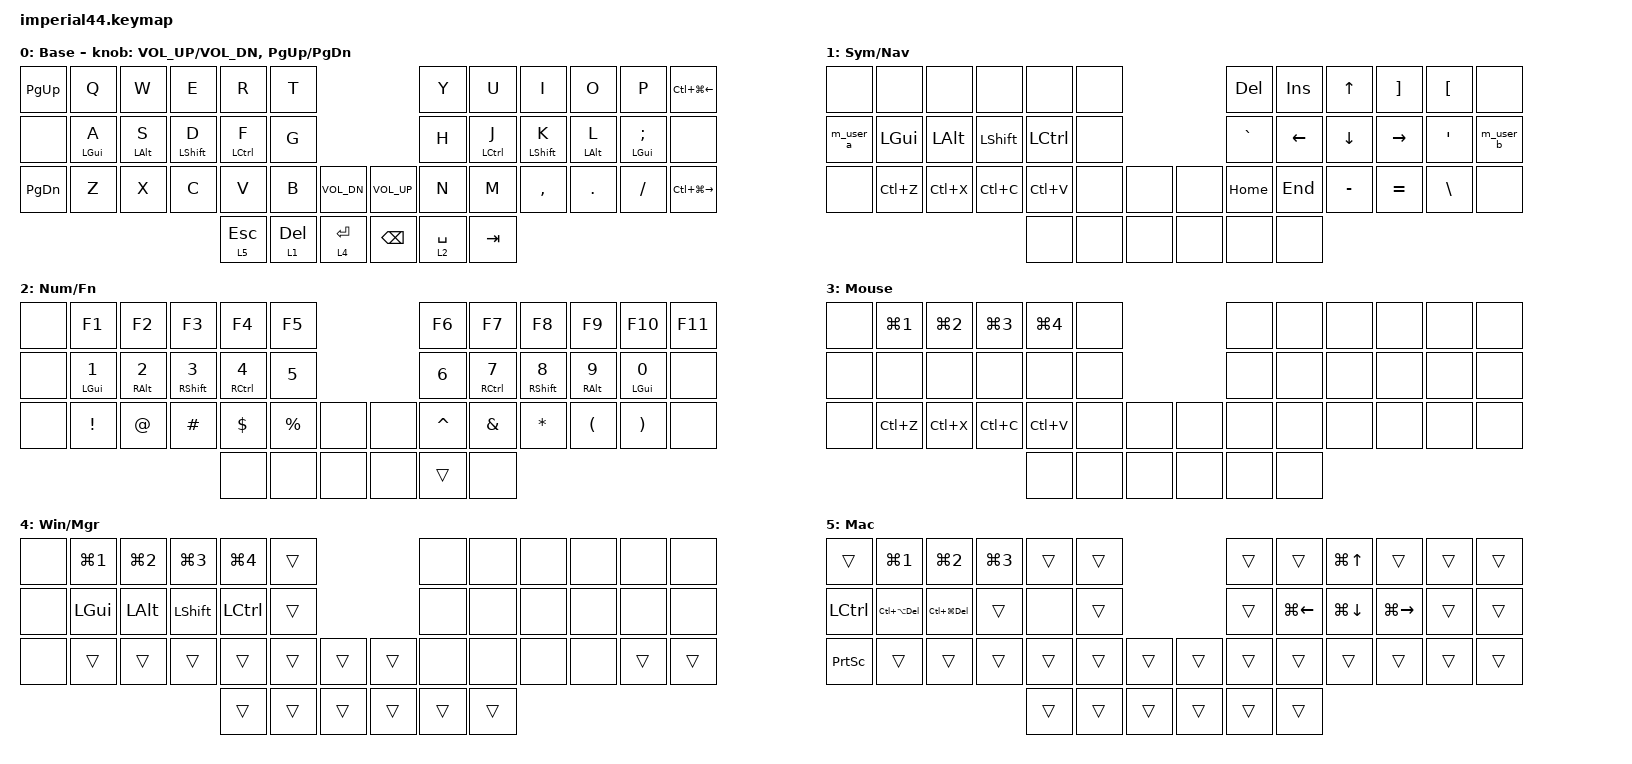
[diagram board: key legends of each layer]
/*
 * Imperial44 (Wireless Edition) — конвертация из QMK/Vial в ZMK (v2)
 * Источник: win_layer_3.vil
 * Эталон матрицы: ergohaven/ergohaven-zmk-config/config/imperial44.keymap
 *
 * ВАЖНО про матрицу Imperial44:
 *   - Row 0: 12 клавиш (6 левых + 6 правых)
 *   - Row 1: 12 клавиш (6 левых + 6 правых)
 *   - Row 2: 14 клавиш (7 левых + 7 правых) — есть внутренний extra-столбец
 *   - Thumb row: 6 клавиш (3 левых + 3 правых)
 *   = 44 клавиши
 *
 * Энкодер: rotation через sensor-bindings, press-кнопка через позицию 30/31
 * (внутренний extra-столбец row 2). В QMK эта позиция в Vial хранилась как
 * thumb[0] = VOLD/VOLU.
 *
 * Маппинг позиций (для combos и понимания layout):
 *
 *   Row 0 (top):     0  1  2  3  4  5  |  6  7  8  9 10 11
 *                   PG_UP Q  W  E  R  T  |  Y  U  I  O  P  C+G+◀
 *
 *   Row 1 (home):   12 13 14 15 16 17  | 18 19 20 21 22 23
 *                   ‹–› A  S  D  F  G  |  H  J  K  L  ;  ‹–›
 *                       (HRM: GUI/ALT/SHFT/CTRL  | CTRL/SHFT/ALT/GUI)
 *
 *   Row 2 (bot):    24 25 26 27 28 29 30  | 31 32 33 34 35 36 37
 *                  PG_DN Z X C V B VOL- |VOL+ N M , . / C+G+▶
 *                                  ↑inner extra (encoder press)
 *
 *   Thumb:                  38 39 40    | 41 42 43
 *                          ESC DEL ENT  |BSPC SPC TAB
 *                          (lt5 lt1 lt4) |    (lt2)
 */

#include "keys_ru.h"
#include <behaviors.dtsi>
#include <dt-bindings/zmk/bt.h>
#include <dt-bindings/zmk/keys.h>
#include <dt-bindings/zmk/outputs.h>

/ {
    /* ─── КАСТОМНЫЕ BEHAVIORS ───────────────────────────────────────── */
    behaviors {
        /* HRM — Home Row Mods, аналог QMK LCTL_T/LSFT_T/LALT_T/LGUI_T */
        hrm: home_row_mod {
            compatible = "zmk,behavior-hold-tap";
            #binding-cells = <2>;
            tapping-term-ms = <200>;
            quick-tap-ms = <175>;
            require-prior-idle-ms = <125>;
            flavor = "balanced";
            bindings = <&kp>, <&kp>;
        };
    };

    /* ─── МАКРОСЫ ───────────────────────────────────────────────────── */
    macros {
        /*
         * M4 из QMK: печатает "()" и оставляет курсор внутри скобок.
         * Использовался в TD4 на Layer 1.
         */
        m_parens: m_parens {
            compatible = "zmk,behavior-macro";
            #binding-cells = <0>;
            wait-ms = <10>;
            tap-ms = <10>;
            bindings = <&kp LPAR>, <&kp RPAR>, <&kp LEFT>;
        };

        /* M0/M1: USER09→USER10/11 — RuEn-логика. Заглушки до настройки RuEn. */
        m_user_a: m_user_a {
            compatible = "zmk,behavior-macro";
            #binding-cells = <0>;
            wait-ms = <100>;
            tap-ms = <30>;
            bindings = <&none>;  /* TODO: USER09 + USER10 */
        };

        m_user_b: m_user_b {
            compatible = "zmk,behavior-macro";
            #binding-cells = <0>;
            wait-ms = <100>;
            tap-ms = <30>;
            bindings = <&none>;  /* TODO: USER09 + USER11 */
        };
    };

    /* ─── COMBOS ────────────────────────────────────────────────────── */
    combos {
        compatible = "zmk,combos";

        /* E + R → Ctrl+U (подчёркивание) */
        combo_underline {
            timeout-ms = <50>;
            key-positions = <3 4>;
            bindings = <&kp LC(U)>;
        };

        /* R + T → Ctrl+PrintScreen */
        combo_screenshot {
            timeout-ms = <50>;
            key-positions = <4 5>;
            bindings = <&kp LC(PSCRN)>;
        };

        /* Y + U → Calculator */
        combo_calc {
            timeout-ms = <50>;
            key-positions = <6 7>;
            bindings = <&kp C_AL_CALCULATOR>;
        };

        /* C + V → Ctrl+F (поиск) */
        combo_find {
            timeout-ms = <50>;
            key-positions = <27 28>;
            bindings = <&kp LC(F)>;
        };

        /* V + B → Ctrl+Shift+F (поиск во всех файлах) */
        combo_find_all {
            timeout-ms = <50>;
            key-positions = <28 29>;
            bindings = <&kp LC(LS(F))>;
        };

        /* U+I (USER10) и U+O (USER11) — для RuEn, оставлены закомментированными */
        // combo_user_a { timeout-ms = <50>; key-positions = <7 8>; bindings = <&none>; };
        // combo_user_b { timeout-ms = <50>; key-positions = <7 9>; bindings = <&none>; };
    };

    /* ─── KEYMAP ────────────────────────────────────────────────────── */
    keymap {
        compatible = "zmk,keymap";

        /* ═══════════════════════════════════════════════════════════════
         * LAYER 0: Base (QWERTY с Home Row Mods)
         * ─────────────────────────────────────────────────────────────── */
        base {
            display-name = "Base";
            bindings = <
&kp PG_UP   &kp Q       &kp W        &kp E        &kp R        &kp T                                       &kp Y       &kp U        &kp I        &kp O       &kp P           &kp LC(LG(LEFT))
&none       &hrm LGUI A &hrm LALT S  &hrm LSHFT D &hrm LCTRL F &kp G                                       &kp H       &hrm LCTRL J &hrm LSHFT K &hrm LALT L &hrm LGUI SEMI  &none
&kp PG_DN   &kp Z       &kp X        &kp C        &kp V        &kp B        &kp C_VOL_DN  &kp C_VOL_UP    &kp N       &kp M        &kp COMMA    &kp DOT     &kp FSLH        &kp LC(LG(RIGHT))
                                                  &lt 5 ESC    &lt 1 DEL    &lt 4 RET     &kp BSPC        &lt 2 SPACE &kp TAB
            >;
            sensor-bindings =
                <&inc_dec_kp C_VOL_UP C_VOL_DN>,
                <&inc_dec_kp PG_UP PG_DN>;
        };

        /* ═══════════════════════════════════════════════════════════════
         * LAYER 1: Symbols / Navigation (LT1 на DEL)
         * ─────────────────────────────────────────────────────────────── */
        sym_nav {
            display-name = "Sym/Nav";
            bindings = <
&none       &none       &none        &none        &none        &none                                       &kp DEL     &kp INS      &kp UP       &kp RBKT    &kp LBKT        &none
&m_user_a   &kp LGUI    &kp LALT     &kp LSHFT    &kp LCTRL    &none                                       &kp GRAVE   &kp LEFT     &kp DOWN     &kp RIGHT   &kp SQT         &m_user_b
&none       &kp LC(Z)   &kp LC(X)    &kp LC(C)    &kp LC(V)    &none        &none         &none           &kp HOME    &kp END      &kp MINUS    &kp EQUAL   &kp BSLH        &none
                                                  &none        &none        &none         &none           &none       &none
            >;
            /*
             * TODO ручной донастройки:
             * - На pos 2,3,4 (TD4/TD5/TD6 в QMK): сейчас &none.
             *   TD4 = тап-данс на скобки `()` — можно назначить &m_parens на pos 4.
             *   TD5/TD6 связаны с RuEn — заработают после настройки RuEn-блока.
             * - На pos 15,16 (LALT_T(WH_D), LGUI_T(WH_U) в QMK):
             *   мод-тап с колесом мыши. Сейчас просто &kp LSHFT и &kp LCTRL —
             *   удержание работает, но тап-нажатие на колесо мыши не передаётся.
             * - На pos 12 (M0) и pos 23 (M1): RuEn макросы → &m_user_a/b (заглушки).
             */
        };

        /* ═══════════════════════════════════════════════════════════════
         * LAYER 2: Numbers / F-keys (LT2 на SPACE)
         * ─────────────────────────────────────────────────────────────── */
        num_fn {
            display-name = "Num/Fn";
            bindings = <
&none        &kp F1       &kp F2        &kp F3         &kp F4         &kp F5                                  &kp F6      &kp F7         &kp F8         &kp F9        &kp F10         &kp F11
&none        &hrm LGUI N1 &hrm RALT N2  &hrm RSHFT N3  &hrm RCTRL N4  &kp N5                                  &kp N6      &hrm RCTRL N7  &hrm RSHFT N8  &hrm RALT N9  &hrm LGUI N0    &none
&none        &kp EXCL     &kp AT        &kp HASH       &kp DLLR       &kp PRCNT  &none           &none        &kp CARET   &kp AMPS       &kp STAR       &kp LPAR      &kp RPAR        &none
                                                       &none          &none      &none           &none        &trans      &none
            >;
            /*
             * Цифры и шифт-символы: 1-5 на левой, 6-0 на правой.
             * HRM на цифрах использует RCTRL/RSHFT/RALT — как в твоём QMK Vial.
             */
        };

        /* ═══════════════════════════════════════════════════════════════
         * LAYER 3: Mouse + System
         * ─────────────────────────────────────────────────────────────── */
        mouse {
            display-name = "Mouse";
            bindings = <
&none       &kp LG(N1)   &kp LG(N2)    &kp LG(N3)   &kp LG(N4)   &none                                       &none       &none        &none        &none       &none           &none
&none       &none        &none         &none        &none        &none                                       &none       &none        &none        &none       &none           &none
&none       &kp LC(Z)    &kp LC(X)     &kp LC(C)    &kp LC(V)    &none        &none         &none           &none       &none        &none        &none       &none           &none
                                                    &none        &none        &none         &none           &none       &none
            >;
            /*
             * TODO: Mouse-функционал отключён, так как требует:
             *   1) CONFIG_ZMK_POINTING=y в config/imperial44.conf
             *   2) #include <dt-bindings/zmk/pointing.h> в этом файле
             *   3) Замена &none обратно на:
             *        &mkp LCLK / &mkp RCLK / &mkp MCLK
             *        &msc SCRL_UP / &msc SCRL_DOWN
             *
             * QMK-маппинг был:
             *   BTN1 (LCLK) → pos 28 (поз. F в нижней строке слева)
             *   BTN2 (RCLK) → pos 27 (поз. D)
             *   BTN3 (MCLK) → pos 29 (поз. G)
             *   WH_U (scroll up)   → pos 16 (поз. F home row)
             *   WH_D (scroll down) → pos 15 (поз. D home row)
             *
             * USER19..36 на правой стороне — Ergohaven RuEn-специфические
             * keycodes. После настройки RuEn-блока часть можно вернуть.
             */
        };

        /* ═══════════════════════════════════════════════════════════════
         * LAYER 4: Window Management (LT4 на ENTER)
         * ─────────────────────────────────────────────────────────────── */
        win_mgr {
            display-name = "Win/Mgr";
            bindings = <
&none       &kp LG(N1)   &kp LG(N2)    &kp LG(N3)   &kp LG(N4)   &trans                                      &none       &none        &none        &none       &none           &none
&none       &kp LGUI     &kp LALT      &kp LSHFT    &kp LCTRL    &trans                                      &none       &none        &none        &none       &none           &none
&none       &trans       &trans        &trans       &trans       &trans       &trans         &trans          &none       &none        &none        &none       &trans          &trans
                                                    &trans       &trans       &trans         &trans          &trans      &trans
            >;
            /*
             * MAGIC_SWAP_CTL_GUI / UNSWAP / TOGGLE из QMK не имеют аналога в ZMK.
             * Они в QMK на лету меняли местами Ctrl и GUI (для Win↔Mac режима).
             * В ZMK правильнее держать отдельный слой Mac (Layer 5) и переключаться
             * через &tog 5. Сейчас MAGIC_* позиции = &none.
             */
        };

        /* ═══════════════════════════════════════════════════════════════
         * LAYER 5: macOS Window Management (LT5 на ESC)
         * ─────────────────────────────────────────────────────────────── */
        mac {
            display-name = "Mac";
            bindings = <
&trans      &kp LG(N1)        &kp LG(N2)        &kp LG(N3)   &trans       &trans                                      &trans      &trans          &kp LG(UP)     &trans          &trans          &trans
&kp LCTRL   &kp LC(LA(DEL))   &kp LC(LG(DEL))   &trans       &none        &trans                                      &trans      &kp LG(LEFT)    &kp LG(DOWN)   &kp LG(RIGHT)   &trans          &trans
&kp PSCRN   &trans            &trans            &trans       &trans       &trans       &trans         &trans          &trans      &trans          &trans         &trans          &trans          &trans
                                                             &trans       &trans       &trans         &trans          &trans      &trans
            >;
            /*
             * macOS-стиль управление окнами:
             *  - LCA(DEL) → LC(LA(DEL))  = Ctrl+Alt+Delete
             *  - RCG(DEL) → LC(LG(DEL))  = Ctrl+Cmd+Delete
             *  - PSCRN на pos 24 (outer-left row 2)
             *  - MAGIC_TOGGLE_CTL_GUI на pos 16 → &none
             */
        };
    };
};
